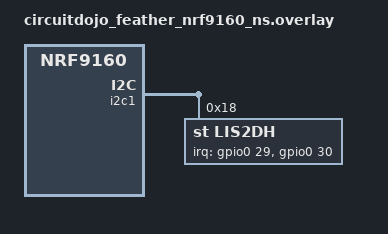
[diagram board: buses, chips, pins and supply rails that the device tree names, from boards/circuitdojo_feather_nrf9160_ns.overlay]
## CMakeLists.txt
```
#
# Copyright (c) 2018, Yannis Damigos
#
# SPDX-License-Identifier: Apache-2.0
#

cmake_minimum_required(VERSION 3.13.1)

# Adding custom overlay to add settings that aren't included in the SDK (yet) for the nRF9160 Feather
if(${BOARD} STREQUAL circuitdojo_feather_nrf9160ns)
message(STATUS "Adding .overlay for mcuboot.")
list(APPEND mcuboot_DTC_OVERLAY_FILE
  "${CMAKE_CURRENT_LIST_DIR}/conf/mcuboot/circuitdojo_feather_nrf9160ns.overlay"
  )
endif()

find_package(Zephyr HINTS $ENV{ZEPHYR_BASE})
project(accel)

FILE(GLOB app_sources src/*.c)
target_sources(app PRIVATE ${app_sources})
```

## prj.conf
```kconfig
# General
CONFIG_PICOLIBC_IO_FLOAT=y

# Adding I2C
CONFIG_I2C=y

# Add the accelerometer
CONFIG_SENSOR=y
CONFIG_LIS2DH=y
CONFIG_LIS2DH_TRIGGER_GLOBAL_THREAD=y
# CONFIG_LIS2DH_ACCEL_RANGE_2G=y
# CONFIG_LIS2DH_ODR_2=y
```

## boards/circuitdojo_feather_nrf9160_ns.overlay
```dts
/*
 * Copyright (c) 2020 Circuit Dojo LLC
 *
 * SPDX-License-Identifier: Apache-2.0
 */
 
&i2c1 {
	lis2dh@18 {
		compatible = "st,lis2dh";
		label = "LIS2DH";
		reg = <0x18>;
		irq-gpios = <&gpio0 29 GPIO_ACTIVE_HIGH>, <&gpio0 30 GPIO_ACTIVE_HIGH>;
		disconnect-sdo-sa0-pull-up;
	};
};
```

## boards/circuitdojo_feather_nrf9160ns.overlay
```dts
/*
 * Copyright (c) 2020 Circuit Dojo LLC
 *
 * SPDX-License-Identifier: Apache-2.0
 */
 
&i2c1 {
	lis2dh@18 {
		compatible = "st,lis2dh";
		label = "LIS2DH";
		reg = <0x18>;
		irq-gpios = <&gpio0 29 GPIO_ACTIVE_HIGH>, <&gpio0 30 GPIO_ACTIVE_HIGH>;
	};
};
```

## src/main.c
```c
/*
 * Copyright (c) 2019 Nordic Semiconductor ASA
 *
 * SPDX-License-Identifier: Apache-2.0
 */

#include <stdio.h>
#include <zephyr/kernel.h>
#include <zephyr/device.h>
#include <zephyr/drivers/sensor.h>

static void fetch_and_display(const struct device *sensor)
{
    static unsigned int count;
    struct sensor_value accel[3];
    const char *overrun = "";
    int rc = sensor_sample_fetch(sensor);

    ++count;
    if (rc == -EBADMSG)
    {
        /* Sample overrun.  Ignore in polled mode. */
        if (IS_ENABLED(CONFIG_LIS2DH_TRIGGER))
        {
            overrun = "[OVERRUN] ";
        }
        rc = 0;
    }
    if (rc == 0)
    {
        rc = sensor_channel_get(sensor,
                                SENSOR_CHAN_ACCEL_XYZ,
                                accel);
    }
    if (rc < 0)
    {
        printf("ERROR: Update failed: %d\n", rc);
    }
    else
    {
        printf("#%u @ %u ms: %sx %f , y %f , z %f\n",
               count, k_uptime_get_32(), overrun,
               sensor_value_to_double(&accel[0]),
               sensor_value_to_double(&accel[1]),
               sensor_value_to_double(&accel[2]));
    }
}

#ifdef CONFIG_LIS2DH_TRIGGER
static void trigger_handler(const struct device *dev,
                            const struct sensor_trigger *trig)
{
    fetch_and_display(dev);
}
#endif

int main(void)
{
    const struct device *sensor = DEVICE_DT_GET(DT_ALIAS(accel0));

    if (sensor == NULL || !device_is_ready(sensor))
    {
        printf("Could not get accel0 device\n");
        return -ENODEV;
    }

#if CONFIG_LIS2DH_TRIGGER
    {
        struct sensor_trigger trig;
        int rc;

        trig.type = SENSOR_TRIG_DATA_READY;
        trig.chan = SENSOR_CHAN_ACCEL_XYZ;

        if (IS_ENABLED(CONFIG_LIS2DH_ODR_RUNTIME))
        {
            struct sensor_value odr = {
                .val1 = 1,
            };

            rc = sensor_attr_set(sensor, trig.chan,
                                 SENSOR_ATTR_SAMPLING_FREQUENCY,
                                 &odr);
            if (rc != 0)
            {
                printf("Failed to set odr: %d\n", rc);
                return rc;
            }
            printf("Sampling at %u Hz\n", odr.val1);
        }

        rc = sensor_trigger_set(sensor, &trig, trigger_handler);
        if (rc != 0)
        {
            printf("Failed to set trigger: %d\n", rc);
            return rc;
        }

        printf("Waiting for triggers\n");
        while (true)
        {
            k_sleep(K_MSEC(2000));
        }
    }
#else  /* CONFIG_LIS2DH_TRIGGER */
    printf("Polling at 0.5 Hz\n");
    while (true)
    {
        fetch_and_display(sensor);
        k_sleep(K_MSEC(2000));
    }
#endif /* CONFIG_LIS2DH_TRIGGER */

    return 0;
}
```
